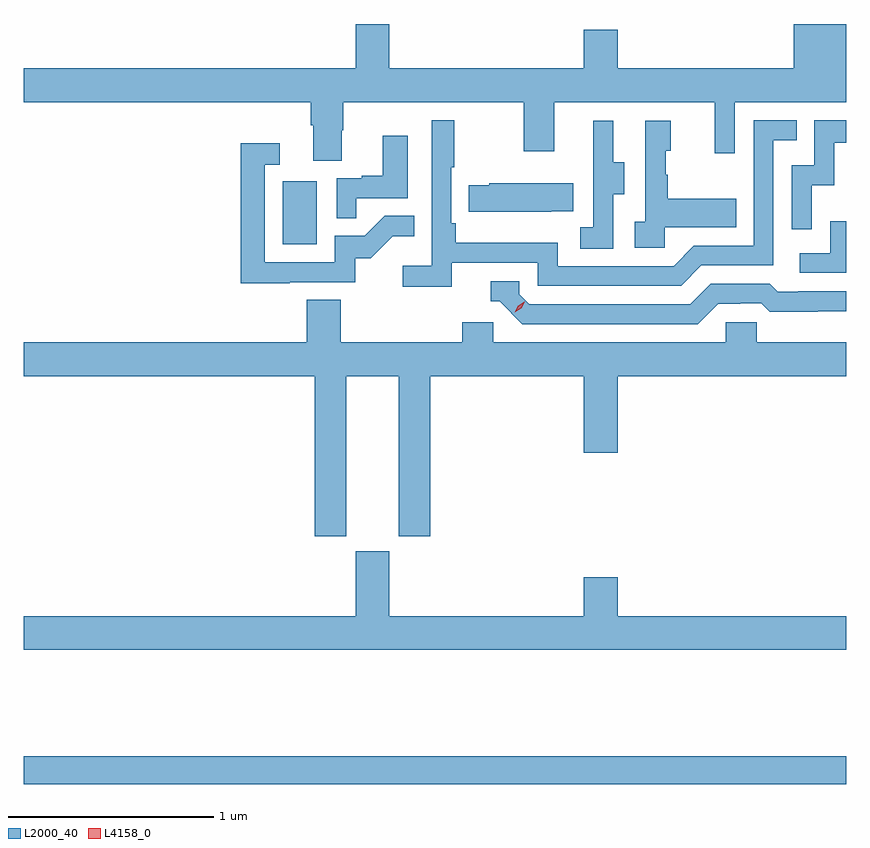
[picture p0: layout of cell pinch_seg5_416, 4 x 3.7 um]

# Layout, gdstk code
import gdstk
lib = gdstk.Library(unit=1e-6, precision=1e-09)
def R(c, l, rs):  # rectangles x0, y0, x1, y1
    for r in rs: c.add(gdstk.rectangle(r[:2], r[2:], *l))
def P(c, l, *ps):  # polygons
    for p in ps: c.add(gdstk.Polygon(p, *l))
L2000_40 = (2000, 40)
L4158_0 = (4158, 0)

pinch_seg5_416 = lib.new_cell('pinch_seg5_416')
R(pinch_seg5_416, L2000_40, [(965.48,861.436,969.48,861.572), (966.74,864.06,966.904,864.367)])
P(pinch_seg5_416, L2000_40, [(968.84,864.504),(968.937,864.504),(968.937,864.752),(969.48,864.752),(969.48,865.132),(969.224,865.132),(969.224,864.916),(968.368,864.916),(968.368,865.105),(968.204,865.105),(968.204,864.916),(967.258,864.916),(967.258,865.132),(967.094,865.132),(967.094,864.916),(965.48,864.916),(965.48,864.752),(966.875,864.752),(966.875,864.64),(966.887,864.64),(966.887,864.466),(967.027,864.466),(967.027,864.615),(967.035,864.615),(967.035,864.752),(967.912,864.752),(967.912,864.513),(968.059,864.513),(968.059,864.752),(968.84,864.752)],
  [(967.562,863.97),(967.98,863.97),(967.98,863.859),(968.677,863.859),(968.776,863.958),(969.126,863.958),(969.126,864.567),(969.239,864.567),(969.239,864.663),(969.03,864.663),(969.03,864.054),(968.739,864.054),(968.64,863.955),(968.076,863.955),(968.076,864.067),(967.58,864.067),(967.58,864.163),(967.56,864.163),(967.56,864.436),(967.573,864.436),(967.573,864.664),(967.464,864.664),(967.464,863.956),(967.323,863.956),(967.323,863.854),(967.562,863.854)],
  [(969.312,864.347),(969.422,864.347),(969.422,864.555),(969.48,864.555),(969.48,864.663),(969.324,864.663),(969.324,864.444),(969.216,864.444),(969.216,864.135),(969.312,864.135)],
  [(968.346,864.304),(968.401,864.304),(968.401,864.459),(968.347,864.459),(968.347,864.661),(968.249,864.661),(968.249,864.447),(968.25,864.447),(968.25,864.143),(968.187,864.143),(968.187,864.04),(968.346,864.04)],
  [(968.598,864.143),(968.945,864.143),(968.945,864.283),(968.611,864.283),(968.611,864.398),(968.601,864.398),(968.601,864.516),(968.626,864.516),(968.626,864.661),(968.502,864.661),(968.502,864.17),(968.451,864.17),(968.451,864.045),(968.598,864.045)],
  [(967.097,864.285),(967.348,864.285),(967.348,864.589),(967.226,864.589),(967.226,864.394),(967.123,864.394),(967.123,864.381),(967.002,864.381),(967.002,864.187),(967.097,864.187)],
  [(966.773,863.877),(967.092,863.877),(967.092,863.994),(967.168,863.994),(967.275,864.101),(967.379,864.101),(967.379,864.2),(967.236,864.2),(967.138,864.102),(966.993,864.102),(966.993,863.973),(966.651,863.973),(966.651,864.447),(966.724,864.447),(966.724,864.553),(966.535,864.553),(966.535,863.872),(966.773,863.872)],
  [(968.045,864.221),(968.153,864.221),(968.153,864.358),(967.743,864.358),(967.743,864.348),(967.645,864.348),(967.645,864.218),(968.045,864.218)],
  [(969.48,864.172),(969.402,864.172),(969.402,864.018),(969.255,864.018),(969.255,863.922),(969.48,863.922)],
  [(968.857,863.772),(968.964,863.772),(968.964,863.775),(969.067,863.775),(969.109,863.733),(969.342,863.733),(969.342,863.735),(969.48,863.735),(969.48,863.832),(969.247,863.832),(969.247,863.829),(969.148,863.829),(969.109,863.868),(968.82,863.868),(968.721,863.769),(967.938,863.769),(967.89,863.817),(967.89,863.88),(967.751,863.88),(967.751,863.784),(967.794,863.784),(967.905,863.673),(968.758,863.673)],
  [(967.048,863.42),(967.304,863.42),(967.304,862.641),(967.457,862.641),(967.457,863.42),(968.204,863.42),(968.204,863.046),(968.368,863.046),(968.368,863.42),(969.48,863.42),(969.48,863.584),(969.045,863.584),(969.045,863.682),(968.895,863.682),(968.895,863.584),(967.764,863.584),(967.764,863.682),(967.613,863.682),(967.613,863.584),(967.022,863.584),(967.022,863.792),(966.857,863.792),(966.857,863.584),(965.48,863.584),(965.48,863.42),(966.896,863.42),(966.896,862.641),(967.048,862.641)],
  [(969.48,862.252),(968.368,862.252),(968.368,862.441),(968.204,862.441),(968.204,862.252),(967.258,862.252),(967.258,862.569),(967.094,862.569),(967.094,862.252),(965.48,862.252),(965.48,862.088),(969.48,862.088)])
P(pinch_seg5_416, L4158_0, [(967.868,863.729),(967.868,863.729),(967.885,863.762),(967.915,863.782),(967.916,863.782),(967.916,863.782),(967.9,863.749),(967.869,863.729)])

lib.write_gds('pinch_seg5_416.gds')
